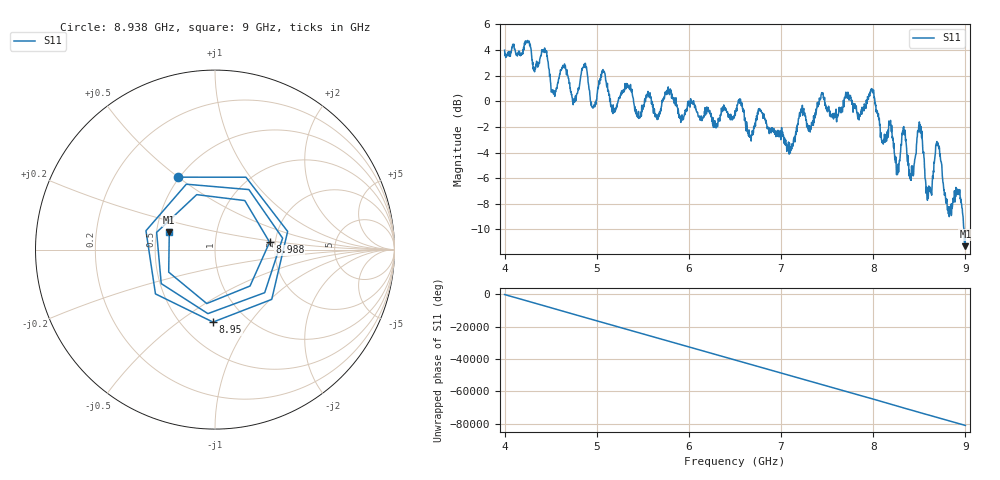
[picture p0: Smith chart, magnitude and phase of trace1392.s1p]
! Created with skrf 1.8.0 (http://scikit-rf.org).
# Hz S RI R 50.0
!freq ReS11 ImS11
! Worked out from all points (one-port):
!   1601 points, 4 GHz to 9 GHz, reference 50 ohm
!   lowest |S11| = -11.3 dB at 9 GHz (marker M1), VSWR 1.75, Z = 29.2 + j6.08 ohm
!   |S11| at or under -10 dB: 8.98508 GHz to end of sweep
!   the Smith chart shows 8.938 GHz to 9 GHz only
!   S11 on the Smith chart (normalised r, x): 8.938 GHz: 0.49, +0.50; 8.95 GHz: 0.71, -0.68; 8.988 GHz: 1.86, +0.17; 9 GHz: 0.58, +0.12
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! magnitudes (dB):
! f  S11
! 4 GHz  4.0
! 4.431 GHz  3.8
! 4.531 GHz  0.6
! 4.625 GHz  2.5
! 4.75 GHz  0.0
! 4.862 GHz  2.9
! 4.956 GHz  -0.5
! 5.069 GHz  2.5
! 5.25 GHz  0.4
! 5.875 GHz  -0.5
! 6.5 GHz  -0.7
! 7.125 GHz  -3.4
! 7.222 GHz  -0.8
! 7.75 GHz  0.4
! 7.991 GHz  0.9
! 8.103 GHz  -3.2
! 8.266 GHz  -5.6
! 8.334 GHz  -2.5
! 8.375 GHz  -4.2
! 8.419 GHz  -5.5
! 8.506 GHz  -2.0
! 8.597 GHz  -7.6
! 8.7 GHz  -3.3
! 8.812 GHz  -8.4
! 8.938 GHz  -6.9
! 8.95 GHz  -7.9
! 8.988 GHz  -10.3
! 9 GHz  -11.3
